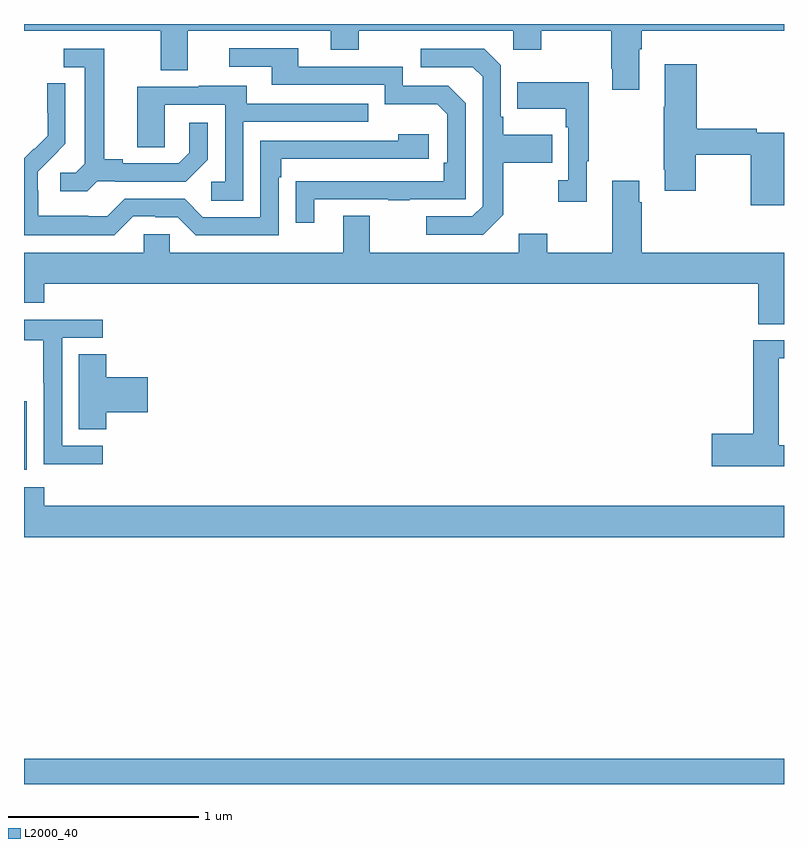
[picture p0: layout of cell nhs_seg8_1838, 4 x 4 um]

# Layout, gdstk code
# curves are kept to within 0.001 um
import gdstk
lib = gdstk.Library(unit=1e-6, precision=1e-09)
def R(c, l, rs):  # rectangles x0, y0, x1, y1
    for r in rs: c.add(gdstk.rectangle(r[:2], r[2:], *l))
def P(c, l, *ps):  # polygons
    for p in ps: c.add(gdstk.Polygon(p, *l))
L2000_40 = (2000, 40)

nhs_seg8_1838 = lib.new_cell('nhs_seg8_1838')
R(nhs_seg8_1838, L2000_40, [(229,1081.9,233,1082.032), (229,1083.554,229.015,1083.915)])
P(nhs_seg8_1838, L2000_40, [(229,1085.864),(229.721,1085.864),(229.721,1085.656),(229.861,1085.656),(229.861,1085.864),(230.615,1085.864),(230.615,1085.765),(230.763,1085.765),(230.763,1085.864),(231.576,1085.864),(231.576,1085.765),(231.723,1085.765),(231.723,1085.864),(232.09,1085.864),(232.09,1085.665),(232.097,1085.665),(232.097,1085.553),(232.237,1085.553),(232.237,1085.768),(232.25,1085.768),(232.25,1085.864),(233,1085.864),(233,1085.9),(229,1085.9)],
  [(230.527,1084.977),(230.917,1084.977),(230.917,1084.972),(231.029,1084.972),(231.029,1084.977),(231.324,1084.977),(231.324,1085.484),(231.234,1085.574),(230.994,1085.574),(230.994,1085.676),(230.443,1085.676),(230.443,1085.772),(230.079,1085.772),(230.079,1085.676),(230.303,1085.676),(230.303,1085.58),(230.898,1085.58),(230.898,1085.477),(231.175,1085.477),(231.228,1085.424),(231.228,1085.17),(231.208,1085.17),(231.208,1085.073),(230.431,1085.072),(230.431,1084.854),(230.527,1084.854)],
  [(229.386,1085.073),(229.48,1085.073),(229.48,1085.07),(229.852,1085.07),(229.968,1085.186),(229.968,1085.38),(229.871,1085.38),(229.871,1085.223),(229.814,1085.166),(229.519,1085.166),(229.519,1085.189),(229.423,1085.189),(229.423,1085.769),(229.209,1085.769),(229.209,1085.673),(229.319,1085.673),(229.319,1085.165),(229.272,1085.118),(229.191,1085.118),(229.191,1085.021),(229.334,1085.021)],
  [(231.523,1084.897),(231.523,1085.17),(231.779,1085.17),(231.779,1085.317),(231.523,1085.317),(231.523,1085.413),(231.51,1085.413),(231.51,1085.682),(231.423,1085.769),(231.087,1085.769),(231.087,1085.673),(231.363,1085.673),(231.414,1085.622),(231.414,1084.941),(231.36,1084.887),(231.117,1084.887),(231.117,1084.791),(231.417,1084.791)],
  [(233,1085.328),(232.856,1085.328),(232.856,1085.348),(232.541,1085.348),(232.541,1085.689),(232.373,1085.689),(232.373,1085.465),(232.366,1085.465),(232.366,1085.134),(232.373,1085.134),(232.373,1085.022),(232.536,1085.022),(232.536,1085.212),(232.825,1085.212),(232.825,1084.947),(233,1084.947)],
  [(231.961,1085.177),(231.973,1085.177),(231.973,1085.593),(231.595,1085.593),(231.595,1085.453),(231.852,1085.453),(231.852,1085.357),(231.864,1085.357),(231.864,1085.078),(231.813,1085.078),(231.813,1084.965),(231.961,1084.965)],
  [(229.575,1084.887),(229.691,1084.887),(229.691,1084.884),(229.809,1084.884),(229.905,1084.788),(230.34,1084.788),(230.34,1085.093),(230.353,1085.093),(230.353,1085.19),(231.13,1085.19),(231.13,1085.32),(230.969,1085.32),(230.969,1085.286),(230.244,1085.286),(230.244,1084.884),(229.941,1084.884),(229.845,1084.98),(229.53,1084.98),(229.437,1084.887),(229.337,1084.887),(229.337,1084.891),(229.074,1084.891),(229.074,1085.025),(229.072,1085.025),(229.072,1085.122),(229.218,1085.27),(229.218,1085.588),(229.122,1085.588),(229.122,1085.434),(229.124,1085.434),(229.124,1085.312),(229.053,1085.241),(229.05,1085.244),(229,1085.194),(229,1084.787),(229.475,1084.787)],
  [(230.154,1085.385),(230.813,1085.385),(230.813,1085.481),(230.173,1085.481),(230.173,1085.575),(229.919,1085.575),(229.919,1085.571),(229.595,1085.571),(229.595,1085.251),(229.74,1085.251),(229.74,1085.475),(230.058,1085.475),(230.058,1085.07),(229.986,1085.07),(229.986,1084.969),(230.154,1084.969)],
  [(233,1084.696),(232.25,1084.696),(232.25,1084.961),(232.237,1084.961),(232.237,1085.074),(232.097,1085.074),(232.097,1084.696),(231.753,1084.696),(231.753,1084.795),(231.605,1084.795),(231.605,1084.696),(230.821,1084.696),(230.821,1084.891),(230.681,1084.891),(230.681,1084.696),(229.767,1084.696),(229.767,1084.794),(229.629,1084.794),(229.629,1084.696),(229,1084.696),(229,1084.433),(229.106,1084.433),(229.106,1084.532),(232.865,1084.532),(232.865,1084.321),(233,1084.321)],
  [(229.414,1083.681),(229.2,1083.681),(229.2,1084.248),(229.414,1084.248),(229.414,1084.344),(229,1084.344),(229,1084.236),(229.102,1084.236),(229.102,1084.012),(229.104,1084.012),(229.104,1083.583),(229.414,1083.583)],
  [(233,1083.682),(232.972,1083.682),(232.972,1084.14),(233,1084.14),(233,1084.236),(232.838,1084.236),(232.838,1083.743),(232.62,1083.743),(232.62,1083.573),(233,1083.573)],
  [(229.433,1083.857),(229.651,1083.857),(229.651,1084.04),(229.433,1084.04),(229.433,1084.163),(229.289,1084.163),(229.289,1083.766),(229.433,1083.766)],
  [(233,1083.364),(229.106,1083.364),(229.106,1083.463),(229,1083.463),(229,1083.2),(233,1083.2)])

lib.write_gds('nhs_seg8_1838.gds')
